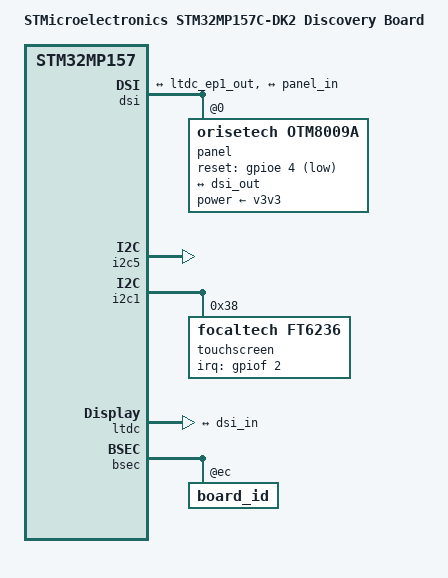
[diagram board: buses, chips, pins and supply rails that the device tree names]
// SPDX-License-Identifier: (GPL-2.0+ OR BSD-3-Clause)
/*
 * Copyright (C) STMicroelectronics 2019 - All Rights Reserved
 * Author: Alexandre Torgue <alexandre.torgue@st.com> for STMicroelectronics.
 */

/dts-v1/;

#include "stm32mp157.dtsi"
#include "stm32mp15xc.dtsi"
#include "stm32mp15-pinctrl.dtsi"
#include "stm32mp15xxac-pinctrl.dtsi"
#include "stm32mp15xx-dkx.dtsi"
#include <dt-bindings/soc/stm32mp15-etzpc.h>

/ {
	model = "STMicroelectronics STM32MP157C-DK2 Discovery Board";
	compatible = "st,stm32mp157c-dk2", "st,stm32mp157";

	aliases {
		ethernet0 = &ethernet0;
		serial0 = &uart4;
		i2c5 = &i2c5;
	};

	chosen {
		stdout-path = "serial0:115200n8";
	};
};

&dsi {
	#address-cells = <1>;
	#size-cells = <0>;
	status = "okay";
	phy-dsi-supply = <&reg18>;

	ports {
		#address-cells = <1>;
		#size-cells = <0>;

		port@0 {
			reg = <0>;
			dsi_in: endpoint {
				remote-endpoint = <&ltdc_ep1_out>;
			};
		};

		port@1 {
			reg = <1>;
			dsi_out: endpoint {
				remote-endpoint = <&panel_in>;
			};
		};
	};

	panel@0 {
		compatible = "orisetech,otm8009a";
		reg = <0>;
		reset-gpios = <&gpioe 4 GPIO_ACTIVE_LOW>;
		power-supply = <&v3v3>;
		status = "okay";

		port {
			panel_in: endpoint {
				remote-endpoint = <&dsi_out>;
			};
		};
	};
};

&i2c5 {
	status = "okay";
};
&i2c1 {
	touchscreen@38 {
		compatible = "focaltech,ft6236";
		reg = <0x38>;
		interrupts = <2 2>;
		interrupt-parent = <&gpiof>;
		interrupt-controller;
		touchscreen-size-x = <480>;
		touchscreen-size-y = <800>;
		status = "okay";
	};
};

&ltdc {
	status = "okay";

	port {
		#address-cells = <1>;
		#size-cells = <0>;

		ltdc_ep1_out: endpoint@1 {
			reg = <1>;
			remote-endpoint = <&dsi_in>;
		};
	};
};

&rcc {
	status = "okay";
};

&bsec {
	board_id: board_id@ec {
		reg = <0xec 0x4>;
		st,non-secure-otp;
	};
};

&etzpc {
	st,decprot = <
		DECPROT(STM32MP1_ETZPC_USART1_ID, DECPROT_NS_RW, DECPROT_UNLOCK)
		DECPROT(STM32MP1_ETZPC_SPI6_ID, DECPROT_NS_RW, DECPROT_UNLOCK)
		DECPROT(STM32MP1_ETZPC_I2C4_ID, DECPROT_NS_RW, DECPROT_UNLOCK)
		DECPROT(STM32MP1_ETZPC_I2C6_ID, DECPROT_NS_RW, DECPROT_UNLOCK)
		DECPROT(STM32MP1_ETZPC_RNG1_ID, DECPROT_S_RW, DECPROT_UNLOCK)
		DECPROT(STM32MP1_ETZPC_HASH1_ID, DECPROT_NS_RW, DECPROT_UNLOCK)
		DECPROT(STM32MP1_ETZPC_CRYP1_ID, DECPROT_NS_RW, DECPROT_UNLOCK)
		DECPROT(STM32MP1_ETZPC_DDRCTRL_ID, DECPROT_NS_R_S_W, DECPROT_LOCK)
		DECPROT(STM32MP1_ETZPC_DDRPHYC_ID, DECPROT_NS_R_S_W, DECPROT_LOCK)
		DECPROT(STM32MP1_ETZPC_STGENC_ID, DECPROT_S_RW, DECPROT_LOCK)
		DECPROT(STM32MP1_ETZPC_BKPSRAM_ID, DECPROT_S_RW, DECPROT_LOCK)
		DECPROT(STM32MP1_ETZPC_IWDG1_ID, DECPROT_S_RW, DECPROT_LOCK)
	>;
};
